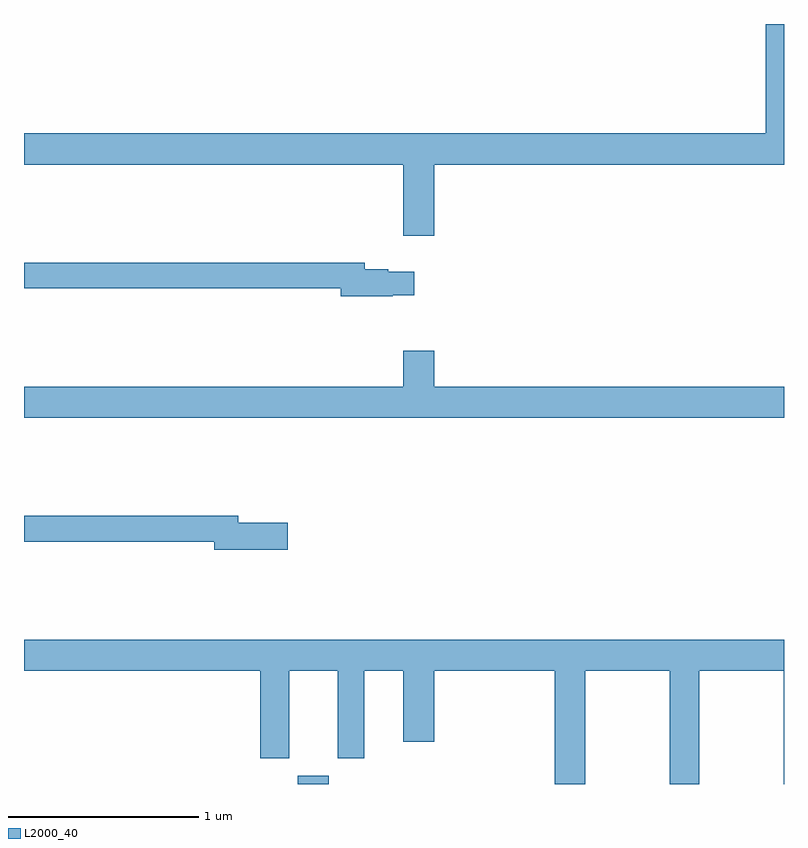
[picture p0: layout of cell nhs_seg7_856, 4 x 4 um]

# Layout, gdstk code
import gdstk
lib = gdstk.Library(unit=1e-6, precision=1e-09)
def R(c, l, rs):  # rectangles x0, y0, x1, y1
    for r in rs: c.add(gdstk.rectangle(r[:2], r[2:], *l))
def P(c, l, *ps):  # polygons
    for p in ps: c.add(gdstk.Polygon(p, *l))
L2000_40 = (2000, 40)

nhs_seg7_856 = lib.new_cell('nhs_seg7_856')
R(nhs_seg7_856, L2000_40, [(176.441,1020,176.605,1020.043)])
P(nhs_seg7_856, L2000_40, [(177.16,1023.26),(179,1023.26),(179,1024),(178.904,1024),(178.904,1023.424),(175,1023.424),(175,1023.26),(176.996,1023.26),(176.996,1022.886),(177.16,1022.886)],
  [(176.942,1022.573),(177.055,1022.573),(177.055,1022.695),(176.916,1022.695),(176.916,1022.708),(176.794,1022.708),(176.794,1022.744),(175,1022.744),(175,1022.608),(176.666,1022.608),(176.666,1022.566),(176.942,1022.566)],
  [(179,1022.092),(177.16,1022.092),(177.16,1022.281),(176.996,1022.281),(176.996,1022.092),(175,1022.092),(175,1021.928),(179,1021.928)],
  [(176.389,1021.376),(176.128,1021.376),(176.128,1021.412),(175,1021.412),(175,1021.276),(176,1021.276),(176,1021.234),(176.389,1021.234)],
  [(175,1020.596),(176.243,1020.596),(176.243,1020.135),(176.395,1020.135),(176.395,1020.596),(176.651,1020.596),(176.651,1020.135),(176.791,1020.135),(176.791,1020.596),(176.996,1020.596),(176.996,1020.222),(177.16,1020.222),(177.16,1020.596),(177.794,1020.596),(177.794,1020),(177.954,1020),(177.954,1020.596),(178.399,1020.596),(178.399,1020),(178.554,1020),(178.554,1020.596),(178.999,1020.596),(178.999,1020),(179,1020),(179,1020.76),(175,1020.76)])

lib.write_gds('nhs_seg7_856.gds')
